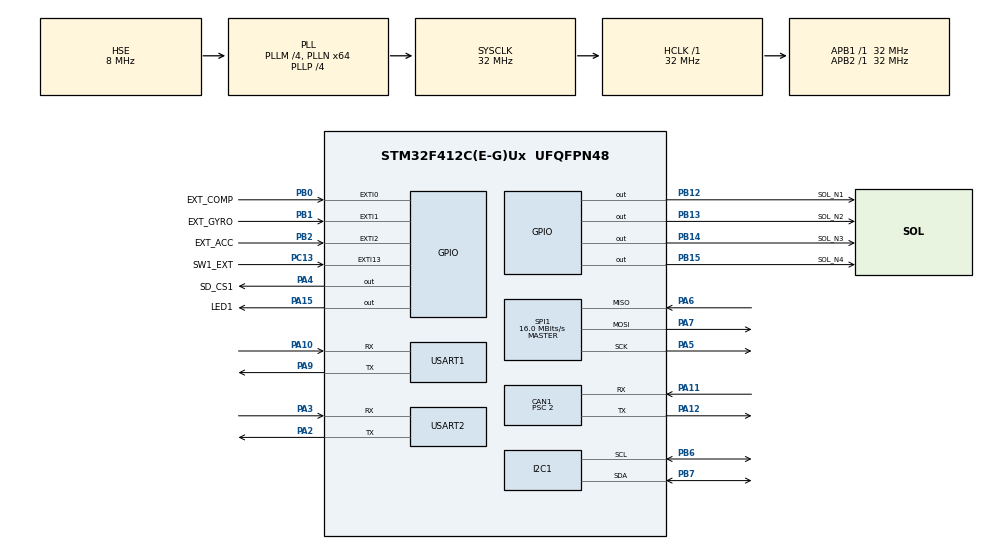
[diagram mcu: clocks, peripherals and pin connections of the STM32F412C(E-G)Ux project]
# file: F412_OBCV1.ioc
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CAN1.BS1=CAN_BS1_13TQ
CAN1.BS2=CAN_BS2_2TQ
CAN1.CalculateBaudRate=1000000
CAN1.CalculateTimeBit=1000
CAN1.CalculateTimeQuantum=62.5
CAN1.Prescaler=2
FATFS._MAX_SS=4096
FATFS._USE_LFN=1
Mcu.Family=STM32F4
Mcu.Name=STM32F412C(E-G)Ux
Mcu.Package=UFQFPN48
NVIC.CAN1_RX0_IRQn=true\:0\:0\:false\:false\:true\:true\:true\:true
NVIC.EXTI15_10_IRQn=true\:0\:0\:false\:false\:true\:true\:true\:true
NVIC.PriorityGroup=NVIC_PRIORITYGROUP_4
NVIC.TIM8_TRG_COM_TIM14_IRQn=true\:0\:0\:false\:false\:true\:true\:true\:true
PA10.Mode=Asynchronous
PA10.Signal=USART1_RX
PA11.Mode=CAN_Activate
PA11.Signal=CAN1_RX
PA12.Mode=CAN_Activate
PA12.Signal=CAN1_TX
PA13.Mode=Trace_Asynchronous_SW
PA13.Signal=SYS_JTMS-SWDIO
PA14.Mode=Trace_Asynchronous_SW
PA14.Signal=SYS_JTCK-SWCLK
PA15.GPIO_Label=LED1
PA15.Signal=GPIO_Output
PA2.Mode=Asynchronous
PA2.Signal=USART2_TX
PA3.Mode=Asynchronous
PA3.Signal=USART2_RX
PA4.GPIO_Label=SD_CS1
PA4.Signal=GPIO_Output
PA5.Mode=Full_Duplex_Master
PA5.Signal=SPI1_SCK
PA6.Mode=Full_Duplex_Master
PA6.Signal=SPI1_MISO
PA7.Mode=Full_Duplex_Master
PA7.Signal=SPI1_MOSI
PA9.Mode=Asynchronous
PA9.Signal=USART1_TX
PB0.GPIO_Label=EXT_COMP
PB0.GPIO_ModeDefaultEXTI=GPIO_MODE_IT_RISING_FALLING
PB0.GPIO_PuPd=GPIO_NOPULL
PB0.Signal=GPXTI0
PB1.GPIO_Label=EXT_GYRO
PB1.Signal=GPXTI1
PB12.GPIO_Label=SOL_N1
PB12.GPIO_PuPd=GPIO_NOPULL
PB12.PinState=GPIO_PIN_RESET
PB12.Signal=GPIO_Output
PB13.GPIO_Label=SOL_N2
PB13.GPIO_PuPd=GPIO_NOPULL
PB13.PinState=GPIO_PIN_RESET
PB13.Signal=GPIO_Output
PB14.GPIO_Label=SOL_N3
PB14.GPIO_PuPd=GPIO_NOPULL
PB14.PinState=GPIO_PIN_RESET
PB14.Signal=GPIO_Output
PB15.GPIO_Label=SOL_N4
PB15.GPIO_PuPd=GPIO_NOPULL
PB15.PinState=GPIO_PIN_RESET
PB15.Signal=GPIO_Output
PB2.GPIO_Label=EXT_ACC
PB2.Signal=GPXTI2
PB3.Mode=Trace_Asynchronous_SW
PB3.Signal=SYS_JTDO-SWO
PB6.Mode=I2C
PB6.Signal=I2C1_SCL
PB7.Mode=I2C
PB7.Signal=I2C1_SDA
PC13.GPIO_Label=SW1_EXT
PC13.GPIO_ModeDefaultEXTI=GPIO_MODE_IT_FALLING
PC13.Signal=GPXTI13
PC14-OSC32_IN.Mode=LSE-External-Oscillator
PC14-OSC32_IN.Signal=RCC_OSC32_IN
PC15-OSC32_OUT.Mode=LSE-External-Oscillator
PC15-OSC32_OUT.Signal=RCC_OSC32_OUT
PH0\ -\ OSC_IN.Mode=HSE-External-Oscillator
PH0\ -\ OSC_IN.Signal=RCC_OSC_IN
PH1\ -\ OSC_OUT.Mode=HSE-External-Oscillator
PH1\ -\ OSC_OUT.Signal=RCC_OSC_OUT
ProjectManager.HeapSize=0x200
ProjectManager.StackSize=0x400
ProjectManager.TargetToolchain=STM32CubeIDE
RCC.AHBFreq_Value=32000000
RCC.APB1Freq_Value=32000000
RCC.APB1TimFreq_Value=32000000
RCC.APB2Freq_Value=32000000
RCC.APB2TimFreq_Value=32000000
RCC.CortexFreq_Value=32000000
RCC.HCLKFreq_Value=32000000
RCC.HSE_VALUE=8000000
RCC.MSIAutoCalibration=DISABLED
RCC.MSICalibrationValue=0
RCC.PLLM=4
RCC.PLLN=64
RCC.PLLP=RCC_PLLP_DIV4
RCC.PLLSourceVirtual=RCC_PLLSOURCE_HSE
RCC.RCC_RTC_Clock_Source=RCC_RTCCLKSOURCE_LSE
RCC.SYSCLKFreq_VALUE=32000000
RCC.SYSCLKSource=RCC_SYSCLKSOURCE_PLLCLK
RCC.USBFreq_Value=64000000
RCC.VCOOutputFreq_Value=128000000
SPI1.CalculateBaudRate=16.0 MBits/s
SPI1.Direction=SPI_DIRECTION_2LINES
SPI1.Mode=SPI_MODE_MASTER
SPI1.VirtualType=VM_MASTER
TIM14.Period=10000-1
TIM14.Prescaler=32000-1
USART1.VirtualMode=VM_ASYNC
USART2.VirtualMode=VM_ASYNC
VP_FATFS_VS_Generic.Mode=User_defined
VP_TIM14_VS_ClockSourceINT.Mode=Enable_Timer
board=custom

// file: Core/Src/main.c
/* USER CODE BEGIN Header */
/**
  ******************************************************************************
  * @file           : main.c
  * @brief          : Main program body
  ******************************************************************************
  * @attention
  *
  * <h2><center>&copy; Copyright (c) 2022 STMicroelectronics.
  * All rights reserved.</center></h2>
  *
  * This software component is licensed by ST under BSD 3-Clause license,
  * the "License"; You may not use this file except in compliance with the
  * License. You may obtain a copy of the License at:
  *                        opensource.org/licenses/BSD-3-Clause
  *
  ******************************************************************************
  */
/* USER CODE END Header */
#include "main.h"
#include "fatfs.h"

/* USER CODE BEGIN Includes */

#include "process.h"

#include <stdio.h>

/* USER CODE END Includes */

CAN_HandleTypeDef hcan1;

I2C_HandleTypeDef hi2c1;

SPI_HandleTypeDef hspi1;

TIM_HandleTypeDef htim14;

UART_HandleTypeDef huart1;
UART_HandleTypeDef huart2;

/* USER CODE BEGIN PV */
LIS2MDL comp;
ISM330 acc_gyro;
solenoid sol;

CANBUS comm;

can_buf can;
tel_rx_data tel_rx;

SD SD_BUTTON_move;
SD SD_RCS_move;
SD SD_RCS_spin;
SD SD_RECORD;

SD* SD_Active;

uint8_t button_flag = 0;

uint8_t acknack;

uint8_t OBC_STATE;

uint8_t CURR_TASK;

/* USER CODE END PV */

void SystemClock_Config(void);
static void MX_GPIO_Init(void);
static void MX_CAN1_Init(void);
static void MX_I2C1_Init(void);
static void MX_SPI1_Init(void);
static void MX_USART2_UART_Init(void);
static void MX_USART1_UART_Init(void);
static void MX_TIM14_Init(void);

/* USER CODE BEGIN 0 */

void HAL_CAN_RxFifo0MsgPendingCallback( CAN_HandleTypeDef *hcan )
{
	HAL_CAN_GetRxMessage(hcan, CAN_RX_FIFO0, &comm.RXHeader, comm.RXdata);
	CAN_Receive( &comm );
}
/* USER CODE END 0 */

int main(void)
{

  /* MCU Configuration--------------------------------------------------------*/

  /* Reset of all peripherals, Initializes the Flash interface and the Systick. */
  HAL_Init();

  /* Configure the system clock */
  SystemClock_Config();

  /* Initialize all configured peripherals */
  MX_GPIO_Init();
  MX_CAN1_Init();
  MX_I2C1_Init();
  MX_SPI1_Init();
  MX_USART2_UART_Init();
  MX_USART1_UART_Init();
  MX_FATFS_Init();
  MX_TIM14_Init();
  /* USER CODE BEGIN 2 */

  /*
   * INIT ALL DEVICES AND PERIPHERALS
   */

  // GIVE PERIPHERALS TIME TO BOOT
  HAL_Delay(500);

  LIS2MDL_Initialise( &comp, &hi2c1, 0, &button_flag );

  ISM330_Initialise(&acc_gyro, &hi2c1);

  CAN_Initialise( &comm, &hcan1, SAT_OBC, 0x0F0, 0, 10 );

  SD_Mount();

//  Process_LIS2MDL_TEST( &comp, &LIS_card );

//  Process_ISM330_ACC_TEST(&acc_gyro, &LIS_card);

  Process_ISM330_GYRO_TEST(&acc_gyro, &SD_RECORD);

  uint32_t beacon_time = HAL_GetTick();

  uint32_t flash_time = HAL_GetTick();

  uint32_t test_time;

  uint16_t flash = 2000;

  /* USER CODE END 2 */

  /* Infinite loop */
  /* USER CODE BEGIN WHILE */
  while (1)
  {
	  /*
	   * Button related tasks
	   */
	  if( button_flag == 1 )
	  {
		  for (uint8_t j = 0; j < 25; j++)
		  {
			  HAL_GPIO_TogglePin(LED1_GPIO_Port, LED1_Pin);
			  HAL_Delay(200);
		  }
		  for (uint8_t i = 0; i < 50; i++)
		  {
			  Process_ISM330_GYRO_SD(&acc_gyro, &SD_RECORD);
		  }
		  for (uint8_t j = 0; j < 10; j++)
		  {
			  HAL_GPIO_TogglePin(LED1_GPIO_Port, LED1_Pin);
			  HAL_Delay(100);
		  }
		  button_flag = 0;
	  }
	  /*
	   * CAN RELATED TASKS
	   */
	  can = Process_CAN_INBOX( &comm );

	  switch (can.msg_typ)
	  {
	  case 4: //NO MESSAGE msg_typ is 2 bit so 4 is out of range
		  break;
	  case 0:
		  Process_TELEMETRY_REQ(&comm, can, &acc_gyro, &comp);
		  Process_TELEMETRY_RX(&comm, can, &tel_rx);
		  break;
	  case 1:
		  // Process COMMANDS
		  if (can.buffer[0] == TASK_AB_TEST)
		  {
			  if (OBC_STATE == 0)
			  {
				  Process_OBC_Movement_Test( &comp, &SD_RCS_move, 1 );
				  SD_Active = &SD_RCS_move;
				  OBC_STATE = 1;
				  test_time = HAL_GetTick();
				  flash = 500;
				  CURR_TASK = TASK_AB_TEST;
				  SEND_ACKNACK( &comm, TASK_AB_TEST, 0, can.source);
			  }
			  else
			  {
				  SEND_ACKNACK( &comm, TASK_AB_TEST, 1, can.source);
			  }

		  }
		  else if (can.buffer[0] == TASK_SPIN_TEST)
		  {
			  if (OBC_STATE == 0)
			  {
				  Process_OBC_Movement_Test( &comp, &SD_RCS_spin, 2 );
				  SD_Active = &SD_RCS_spin;
				  OBC_STATE = 1;
				  test_time = HAL_GetTick();
				  flash = 500;
				  CURR_TASK = TASK_SPIN_TEST;
				  SEND_ACKNACK( &comm, TASK_SPIN_TEST, 0, can.source);
			  }
			  else
			  {
				  SEND_ACKNACK( &comm, TASK_SPIN_TEST, 1, can.source);
			  }
		  }
		  else if (can.buffer[0] == TASK_RECORD)
		  {
			  if (OBC_STATE == 0)
			  {
				  OBC_STATE = 4;
				  Process_OBC_Movement_Test( &comp, &SD_RECORD, 3 );
				  SD_Active = &SD_RECORD;
				  flash = 500;
				  CURR_TASK = TASK_RECORD;
				  SEND_ACKNACK( &comm, TASK_RECORD, 0, can.source);
			  }
			  else if (OBC_STATE == 4)
			  {
				  OBC_STATE = 0;
				  flash = 2000;
				  CURR_TASK = 0xFF;
				  SEND_ACKNACK( &comm, TASK_RECORD, 0, can.source);
			  }
			  else
			  {
				  SEND_ACKNACK( &comm, TASK_RECORD, 1, can.source);
			  }
		  }
		  break;
	  case 2:
		  // Process DIRECT
		  if (can.buffer[0] == 0)
		  {
			  acknack = Solenoid_Move_Start( &sol, can.buffer[1], can.buffer[2] );
			  SEND_ACKNACK( &comm, TASK_SOL, acknack, can.source);
			  // IF returns 1 send NACK
		  }
		  break;
	  }

	  /*
	   * EVERY LOOP TASKS
	   */

	  Process_Solenoid( &sol );

//	  Process_TEST(uint8_t* OBC_STATE, uint8_t CURR_TASK)

	  if (OBC_STATE)
	  {
		  if (OBC_STATE == 1)
		  {
			  if (HAL_GetTick() - test_time > 5000)
			  {
				  if (CURR_TASK == TASK_AB_TEST)
					  Solenoid_Move_Start(&sol, 2, 12);
				  else if (CURR_TASK == TASK_SPIN_TEST)
					  Solenoid_Move_Start(&sol, 3, 10);
				  OBC_STATE = 2;
				  flash = 1000;
			  }
		  }
		  else if (OBC_STATE == 2)
		  {
			  if (HAL_GetTick() - test_time > 15000)
			  {
				  if (CURR_TASK == TASK_AB_TEST)
					  Solenoid_Move_Start(&sol, 1, 5);
				  else if (CURR_TASK == TASK_SPIN_TEST)
					  Solenoid_Move_Start(&sol, 4, 10);
				  OBC_STATE = 3;
				  flash = 100;
			  }
		  }
		  else if (OBC_STATE == 3)
		  {
			  if (HAL_GetTick() - test_time > 30000)
			  {
				  OBC_STATE = 0;
				  flash = 2000;
			  }
		  }
		  // STORE DATA
		  Process_OBC_Movement_Test_WRITE_DATA(OBC_STATE, sol.move_selected, &acc_gyro, &comp, SD_Active, &tel_rx);
	  }

	  /*
	   * TIMED TASKS
	   */

	  if (HAL_GetTick() - beacon_time > 5000)
	  {
		  // SEND BEACON
		  beacon_time = HAL_GetTick();
		  Process_BEACON( &comm, OBC_STATE );
	  }

	  if (HAL_GetTick() - flash_time > flash)
	  {
		  flash_time = HAL_GetTick();
		  HAL_GPIO_TogglePin(LED1_GPIO_Port, LED1_Pin);
	  }

    /* USER CODE END WHILE */

  }
}

void SystemClock_Config(void)
{
  RCC_OscInitTypeDef RCC_OscInitStruct = {0};
  RCC_ClkInitTypeDef RCC_ClkInitStruct = {0};

  /** Configure the main internal regulator output voltage
  */
  __HAL_RCC_PWR_CLK_ENABLE();
  __HAL_PWR_VOLTAGESCALING_CONFIG(PWR_REGULATOR_VOLTAGE_SCALE1);

  /** Initializes the RCC Oscillators according to the specified parameters
  * in the RCC_OscInitTypeDef structure.
  */
  RCC_OscInitStruct.OscillatorType = RCC_OSCILLATORTYPE_HSE;
  RCC_OscInitStruct.HSEState = RCC_HSE_ON;
  RCC_OscInitStruct.PLL.PLLState = RCC_PLL_ON;
  RCC_OscInitStruct.PLL.PLLSource = RCC_PLLSOURCE_HSE;
  RCC_OscInitStruct.PLL.PLLM = 4;
  RCC_OscInitStruct.PLL.PLLN = 64;
  RCC_OscInitStruct.PLL.PLLP = RCC_PLLP_DIV4;
  RCC_OscInitStruct.PLL.PLLQ = 2;
  RCC_OscInitStruct.PLL.PLLR = 2;
  if (HAL_RCC_OscConfig(&RCC_OscInitStruct) != HAL_OK)
  {
    Error_Handler();
  }

  /** Initializes the CPU, AHB and APB buses clocks
  */
  RCC_ClkInitStruct.ClockType = RCC_CLOCKTYPE_HCLK|RCC_CLOCKTYPE_SYSCLK
                              |RCC_CLOCKTYPE_PCLK1|RCC_CLOCKTYPE_PCLK2;
  RCC_ClkInitStruct.SYSCLKSource = RCC_SYSCLKSOURCE_PLLCLK;
  RCC_ClkInitStruct.AHBCLKDivider = RCC_SYSCLK_DIV1;
  RCC_ClkInitStruct.APB1CLKDivider = RCC_HCLK_DIV1;
  RCC_ClkInitStruct.APB2CLKDivider = RCC_HCLK_DIV1;

  if (HAL_RCC_ClockConfig(&RCC_ClkInitStruct, FLASH_LATENCY_1) != HAL_OK)
  {
    Error_Handler();
  }
}

static void MX_CAN1_Init(void)
{

  hcan1.Instance = CAN1;
  hcan1.Init.Prescaler = 2;
  hcan1.Init.Mode = CAN_MODE_NORMAL;
  hcan1.Init.SyncJumpWidth = CAN_SJW_1TQ;
  hcan1.Init.TimeSeg1 = CAN_BS1_13TQ;
  hcan1.Init.TimeSeg2 = CAN_BS2_2TQ;
  hcan1.Init.TimeTriggeredMode = DISABLE;
  hcan1.Init.AutoBusOff = DISABLE;
  hcan1.Init.AutoWakeUp = DISABLE;
  hcan1.Init.AutoRetransmission = DISABLE;
  hcan1.Init.ReceiveFifoLocked = DISABLE;
  hcan1.Init.TransmitFifoPriority = DISABLE;
  if (HAL_CAN_Init(&hcan1) != HAL_OK)
  {
    Error_Handler();
  }

}

static void MX_I2C1_Init(void)
{

  hi2c1.Instance = I2C1;
  hi2c1.Init.ClockSpeed = 100000;
  hi2c1.Init.DutyCycle = I2C_DUTYCYCLE_2;
  hi2c1.Init.OwnAddress1 = 0;
  hi2c1.Init.AddressingMode = I2C_ADDRESSINGMODE_7BIT;
  hi2c1.Init.DualAddressMode = I2C_DUALADDRESS_DISABLE;
  hi2c1.Init.OwnAddress2 = 0;
  hi2c1.Init.GeneralCallMode = I2C_GENERALCALL_DISABLE;
  hi2c1.Init.NoStretchMode = I2C_NOSTRETCH_DISABLE;
  if (HAL_I2C_Init(&hi2c1) != HAL_OK)
  {
    Error_Handler();
  }

}

static void MX_SPI1_Init(void)
{

  /* SPI1 parameter configuration*/
  hspi1.Instance = SPI1;
  hspi1.Init.Mode = SPI_MODE_MASTER;
  hspi1.Init.Direction = SPI_DIRECTION_2LINES;
  hspi1.Init.DataSize = SPI_DATASIZE_8BIT;
  hspi1.Init.CLKPolarity = SPI_POLARITY_LOW;
  hspi1.Init.CLKPhase = SPI_PHASE_1EDGE;
  hspi1.Init.NSS = SPI_NSS_SOFT;
  hspi1.Init.BaudRatePrescaler = SPI_BAUDRATEPRESCALER_2;
  hspi1.Init.FirstBit = SPI_FIRSTBIT_MSB;
  hspi1.Init.TIMode = SPI_TIMODE_DISABLE;
  hspi1.Init.CRCCalculation = SPI_CRCCALCULATION_DISABLE;
  hspi1.Init.CRCPolynomial = 10;
  if (HAL_SPI_Init(&hspi1) != HAL_OK)
  {
    Error_Handler();
  }

}

static void MX_TIM14_Init(void)
{

  htim14.Instance = TIM14;
  htim14.Init.Prescaler = 32000-1;
  htim14.Init.CounterMode = TIM_COUNTERMODE_UP;
  htim14.Init.Period = 10000-1;
  htim14.Init.ClockDivision = TIM_CLOCKDIVISION_DIV1;
  htim14.Init.AutoReloadPreload = TIM_AUTORELOAD_PRELOAD_DISABLE;
  if (HAL_TIM_Base_Init(&htim14) != HAL_OK)
  {
    Error_Handler();
  }

}

static void MX_USART1_UART_Init(void)
{

  huart1.Instance = USART1;
  huart1.Init.BaudRate = 115200;
  huart1.Init.WordLength = UART_WORDLENGTH_8B;
  huart1.Init.StopBits = UART_STOPBITS_1;
  huart1.Init.Parity = UART_PARITY_NONE;
  huart1.Init.Mode = UART_MODE_TX_RX;
  huart1.Init.HwFlowCtl = UART_HWCONTROL_NONE;
  huart1.Init.OverSampling = UART_OVERSAMPLING_16;
  if (HAL_UART_Init(&huart1) != HAL_OK)
  {
    Error_Handler();
  }

}

static void MX_USART2_UART_Init(void)
{

  huart2.Instance = USART2;
  huart2.Init.BaudRate = 115200;
  huart2.Init.WordLength = UART_WORDLENGTH_8B;
  huart2.Init.StopBits = UART_STOPBITS_1;
  huart2.Init.Parity = UART_PARITY_NONE;
  huart2.Init.Mode = UART_MODE_TX_RX;
  huart2.Init.HwFlowCtl = UART_HWCONTROL_NONE;
  huart2.Init.OverSampling = UART_OVERSAMPLING_16;
  if (HAL_UART_Init(&huart2) != HAL_OK)
  {
    Error_Handler();
  }

}

static void MX_GPIO_Init(void)
{
  GPIO_InitTypeDef GPIO_InitStruct = {0};

  /* GPIO Ports Clock Enable */
  __HAL_RCC_GPIOC_CLK_ENABLE();
  __HAL_RCC_GPIOH_CLK_ENABLE();
  __HAL_RCC_GPIOA_CLK_ENABLE();
  __HAL_RCC_GPIOB_CLK_ENABLE();

  /*Configure GPIO pin Output Level */
  HAL_GPIO_WritePin(GPIOA, SD_CS1_Pin|LED1_Pin, GPIO_PIN_RESET);

  /*Configure GPIO pin Output Level */
  HAL_GPIO_WritePin(GPIOB, SOL_N1_Pin|SOL_N2_Pin|SOL_N3_Pin|SOL_N4_Pin, GPIO_PIN_RESET);

  /*Configure GPIO pin : SW1_EXT_Pin */
  GPIO_InitStruct.Pin = SW1_EXT_Pin;
  GPIO_InitStruct.Mode = GPIO_MODE_IT_FALLING;
  GPIO_InitStruct.Pull = GPIO_NOPULL;
  HAL_GPIO_Init(SW1_EXT_GPIO_Port, &GPIO_InitStruct);

  /*Configure GPIO pins : SD_CS1_Pin LED1_Pin */
  GPIO_InitStruct.Pin = SD_CS1_Pin|LED1_Pin;
  GPIO_InitStruct.Mode = GPIO_MODE_OUTPUT_PP;
  GPIO_InitStruct.Pull = GPIO_NOPULL;
  GPIO_InitStruct.Speed = GPIO_SPEED_FREQ_LOW;
  HAL_GPIO_Init(GPIOA, &GPIO_InitStruct);

  /*Configure GPIO pin : EXT_COMP_Pin */
  GPIO_InitStruct.Pin = EXT_COMP_Pin;
  GPIO_InitStruct.Mode = GPIO_MODE_IT_RISING_FALLING;
  GPIO_InitStruct.Pull = GPIO_NOPULL;
  HAL_GPIO_Init(EXT_COMP_GPIO_Port, &GPIO_InitStruct);

  /*Configure GPIO pins : EXT_GYRO_Pin EXT_ACC_Pin */
  GPIO_InitStruct.Pin = EXT_GYRO_Pin|EXT_ACC_Pin;
  GPIO_InitStruct.Mode = GPIO_MODE_IT_RISING;
  GPIO_InitStruct.Pull = GPIO_NOPULL;
  HAL_GPIO_Init(GPIOB, &GPIO_InitStruct);

  /*Configure GPIO pins : SOL_N1_Pin SOL_N2_Pin SOL_N3_Pin SOL_N4_Pin */
  GPIO_InitStruct.Pin = SOL_N1_Pin|SOL_N2_Pin|SOL_N3_Pin|SOL_N4_Pin;
  GPIO_InitStruct.Mode = GPIO_MODE_OUTPUT_PP;
  GPIO_InitStruct.Pull = GPIO_NOPULL;
  GPIO_InitStruct.Speed = GPIO_SPEED_FREQ_LOW;
  HAL_GPIO_Init(GPIOB, &GPIO_InitStruct);

  /* EXTI interrupt init*/
  HAL_NVIC_SetPriority(EXTI15_10_IRQn, 0, 0);
  HAL_NVIC_EnableIRQ(EXTI15_10_IRQn);

}

void Error_Handler(void)
{
  __disable_irq();
  while (1)
  {
  }
}
